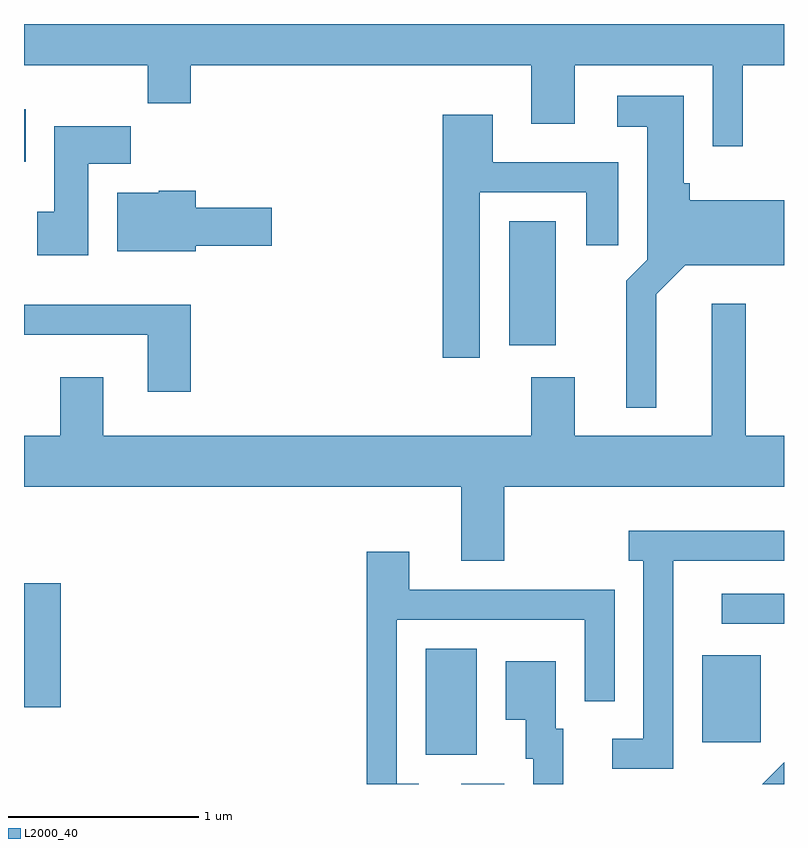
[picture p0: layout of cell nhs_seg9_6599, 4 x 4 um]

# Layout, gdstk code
import gdstk
lib = gdstk.Library(unit=1e-6, precision=1e-09)
def R(c, l, rs):  # rectangles x0, y0, x1, y1
    for r in rs: c.add(gdstk.rectangle(r[:2], r[2:], *l))
def P(c, l, *ps):  # polygons
    for p in ps: c.add(gdstk.Polygon(p, *l))
L2000_40 = (2000, 40)

nhs_seg9_6599 = lib.new_cell('nhs_seg9_6599')
R(nhs_seg9_6599, L2000_40, [(381.911,2032.432,382.139,2032.434), (381.726,2032.586,381.994,2033.144), (383.181,2032.651,383.489,2033.109), (379.611,2032.836,379.804,2033.489), (383.283,2033.276,383.611,2033.434), (382.166,2034.741,382.409,2035.394), (379.611,2035.706,379.619,2035.984)])
P(nhs_seg9_6599, L2000_40, [(383.394,2036.216),(383.611,2036.216),(383.611,2036.432),(379.611,2036.432),(379.611,2036.216),(380.261,2036.216),(380.261,2036.016),(380.489,2036.016),(380.489,2036.216),(382.281,2036.216),(382.281,2035.906),(382.509,2035.906),(382.509,2036.216),(383.236,2036.216),(383.236,2035.788),(383.394,2035.788)],
  [(382.939,2035.009),(383.092,2035.161),(383.611,2035.161),(383.611,2035.504),(383.114,2035.504),(383.114,2035.594),(383.084,2035.594),(383.084,2036.054),(382.733,2036.054),(382.733,2035.891),(382.891,2035.891),(382.891,2035.192),(382.781,2035.082),(382.781,2034.413),(382.939,2034.413)],
  [(382.009,2035.546),(382.571,2035.546),(382.571,2035.268),(382.739,2035.268),(382.739,2035.704),(382.079,2035.704),(382.079,2035.954),(381.816,2035.954),(381.816,2034.676),(382.009,2034.676)],
  [(379.949,2035.696),(380.174,2035.696),(380.174,2035.894),(379.771,2035.894),(379.771,2035.444),(379.681,2035.444),(379.681,2035.216),(379.949,2035.216)],
  [(380.514,2035.266),(380.914,2035.266),(380.914,2035.464),(380.514,2035.464),(380.514,2035.554),(380.32,2035.554),(380.32,2035.544),(380.101,2035.544),(380.101,2035.236),(380.514,2035.236)],
  [(382.139,2033.996),(383.611,2033.996),(383.611,2034.264),(383.409,2034.264),(383.409,2034.959),(383.231,2034.959),(383.231,2034.264),(382.509,2034.264),(382.509,2034.574),(382.281,2034.574),(382.281,2034.264),(380.029,2034.264),(380.029,2034.574),(379.801,2034.574),(379.801,2034.264),(379.611,2034.264),(379.611,2033.996),(381.911,2033.996),(381.911,2033.606),(382.139,2033.606)],
  [(380.489,2034.954),(379.611,2034.954),(379.611,2034.796),(380.261,2034.796),(380.261,2034.496),(380.489,2034.496)],
  [(383.029,2033.606),(383.611,2033.606),(383.611,2033.764),(382.793,2033.764),(382.793,2033.606),(382.871,2033.606),(382.871,2032.669),(382.708,2032.669),(382.708,2032.511),(383.029,2032.511)],
  [(381.688,2032.434),(381.574,2032.434),(381.574,2033.296),(382.561,2033.296),(382.561,2032.868),(382.719,2032.868),(382.719,2033.454),(381.639,2033.454),(381.639,2033.654),(381.416,2033.654),(381.416,2032.432),(381.688,2032.432)],
  [(382.449,2032.724),(382.409,2032.724),(382.409,2033.079),(382.146,2033.079),(382.146,2032.771),(382.251,2032.771),(382.251,2032.566),(382.291,2032.566),(382.291,2032.432),(382.449,2032.432)],
  [(383.611,2032.547),(383.497,2032.432),(383.611,2032.432)])

lib.write_gds('nhs_seg9_6599.gds')
